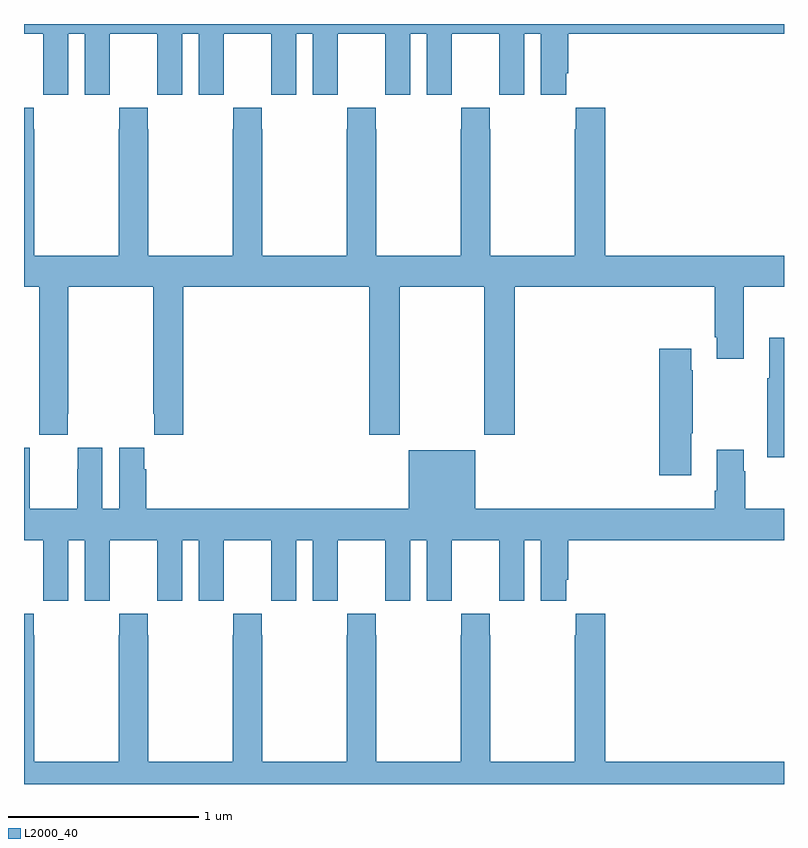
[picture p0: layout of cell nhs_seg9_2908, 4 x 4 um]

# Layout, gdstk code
import gdstk
lib = gdstk.Library(unit=1e-6, precision=1e-09)
def P(c, l, *ps):  # polygons
    for p in ps: c.add(gdstk.Polygon(p, *l))
L2000_40 = (2000, 40)

nhs_seg9_2908 = lib.new_cell('nhs_seg9_2908')
P(nhs_seg9_2908, L2000_40, [(279.232,1168.448),(279.32,1168.448),(279.32,1168.128),(279.45,1168.128),(279.45,1168.24),(279.451,1168.24),(279.451,1168.448),(279.701,1168.448),(279.701,1168.24),(279.702,1168.24),(279.702,1168.128),(279.832,1168.128),(279.832,1168.448),(279.92,1168.448),(279.92,1168.128),(280.05,1168.128),(280.05,1168.24),(280.051,1168.24),(280.051,1168.448),(280.301,1168.448),(280.301,1168.24),(280.302,1168.24),(280.302,1168.128),(280.432,1168.128),(280.432,1168.448),(280.52,1168.448),(280.52,1168.128),(280.65,1168.128),(280.65,1168.24),(280.651,1168.24),(280.651,1168.448),(280.901,1168.448),(280.901,1168.24),(280.902,1168.24),(280.902,1168.128),(281.032,1168.128),(281.032,1168.448),(281.12,1168.448),(281.12,1168.128),(281.25,1168.128),(281.25,1168.24),(281.251,1168.24),(281.251,1168.448),(281.501,1168.448),(281.501,1168.24),(281.502,1168.24),(281.502,1168.128),(281.632,1168.128),(281.632,1168.448),(281.72,1168.448),(281.72,1168.128),(281.854,1168.128),(281.854,1168.24),(281.864,1168.24),(281.864,1168.448),(283,1168.448),(283,1168.5),(279,1168.5),(279,1168.448),(279.101,1168.448),(279.101,1168.24),(279.102,1168.24),(279.102,1168.128),(279.232,1168.128)],
  [(280.817,1166.337),(280.977,1166.337),(280.977,1167.116),(281.422,1167.116),(281.422,1166.337),(281.582,1166.337),(281.582,1167.116),(282.635,1167.116),(282.635,1166.851),(282.647,1166.851),(282.647,1166.739),(282.787,1166.739),(282.787,1167.116),(283,1167.116),(283,1167.28),(282.059,1167.28),(282.059,1168.06),(281.905,1168.06),(281.905,1167.947),(281.899,1167.947),(281.899,1167.28),(281.454,1167.28),(281.454,1167.947),(281.451,1167.947),(281.451,1168.06),(281.301,1168.06),(281.301,1167.947),(281.299,1167.947),(281.299,1167.28),(280.854,1167.28),(280.854,1167.947),(280.851,1167.947),(280.851,1168.06),(280.701,1168.06),(280.701,1167.947),(280.699,1167.947),(280.699,1167.28),(280.254,1167.28),(280.254,1167.947),(280.251,1167.947),(280.251,1168.06),(280.101,1168.06),(280.101,1167.947),(280.099,1167.947),(280.099,1167.28),(279.654,1167.28),(279.654,1167.947),(279.651,1167.947),(279.651,1168.06),(279.501,1168.06),(279.501,1167.947),(279.499,1167.947),(279.499,1167.28),(279.054,1167.28),(279.054,1167.947),(279.051,1167.947),(279.051,1168.06),(279,1168.06),(279,1167.116),(279.079,1167.116),(279.079,1166.449),(279.081,1166.449),(279.081,1166.337),(279.231,1166.337),(279.231,1166.449),(279.234,1166.449),(279.234,1167.116),(279.679,1167.116),(279.679,1166.449),(279.685,1166.449),(279.685,1166.337),(279.839,1166.337),(279.839,1167.116),(280.817,1167.116)],
  [(283,1166.848),(282.923,1166.848),(282.923,1166.635),(282.912,1166.635),(282.912,1166.219),(283,1166.219)],
  [(282.511,1166.347),(282.519,1166.347),(282.519,1166.678),(282.511,1166.678),(282.511,1166.791),(282.344,1166.791),(282.344,1166.124),(282.511,1166.124)],
  [(279.232,1165.784),(279.32,1165.784),(279.32,1165.464),(279.45,1165.464),(279.45,1165.576),(279.451,1165.576),(279.451,1165.784),(279.701,1165.784),(279.701,1165.576),(279.702,1165.576),(279.702,1165.464),(279.832,1165.464),(279.832,1165.784),(279.92,1165.784),(279.92,1165.464),(280.05,1165.464),(280.05,1165.576),(280.051,1165.576),(280.051,1165.784),(280.301,1165.784),(280.301,1165.576),(280.302,1165.576),(280.302,1165.464),(280.432,1165.464),(280.432,1165.784),(280.52,1165.784),(280.52,1165.464),(280.65,1165.464),(280.65,1165.576),(280.651,1165.576),(280.651,1165.784),(280.901,1165.784),(280.901,1165.576),(280.902,1165.576),(280.902,1165.464),(281.032,1165.464),(281.032,1165.784),(281.12,1165.784),(281.12,1165.464),(281.25,1165.464),(281.25,1165.576),(281.251,1165.576),(281.251,1165.784),(281.501,1165.784),(281.501,1165.576),(281.502,1165.576),(281.502,1165.464),(281.632,1165.464),(281.632,1165.784),(281.72,1165.784),(281.72,1165.464),(281.854,1165.464),(281.854,1165.576),(281.864,1165.576),(281.864,1165.784),(283,1165.784),(283,1165.948),(282.795,1165.948),(282.795,1166.147),(282.787,1166.147),(282.787,1166.26),(282.647,1166.26),(282.647,1166.044),(282.635,1166.044),(282.635,1165.948),(281.374,1165.948),(281.374,1166.257),(281.024,1166.257),(281.024,1165.948),(279.644,1165.948),(279.644,1166.156),(279.634,1166.156),(279.634,1166.269),(279.5,1166.269),(279.5,1165.948),(279.412,1165.948),(279.412,1166.269),(279.282,1166.269),(279.282,1166.156),(279.281,1166.156),(279.281,1165.948),(279.031,1165.948),(279.031,1166.156),(279.03,1166.156),(279.03,1166.269),(279,1166.269),(279,1165.784),(279.101,1165.784),(279.101,1165.576),(279.102,1165.576),(279.102,1165.464),(279.232,1165.464)],
  [(283,1164.616),(282.059,1164.616),(282.059,1165.396),(281.905,1165.396),(281.905,1165.283),(281.899,1165.283),(281.899,1164.616),(281.454,1164.616),(281.454,1165.283),(281.451,1165.283),(281.451,1165.396),(281.301,1165.396),(281.301,1165.283),(281.299,1165.283),(281.299,1164.616),(280.854,1164.616),(280.854,1165.283),(280.851,1165.283),(280.851,1165.396),(280.701,1165.396),(280.701,1165.283),(280.699,1165.283),(280.699,1164.616),(280.254,1164.616),(280.254,1165.283),(280.251,1165.283),(280.251,1165.396),(280.101,1165.396),(280.101,1165.283),(280.099,1165.283),(280.099,1164.616),(279.654,1164.616),(279.654,1165.283),(279.651,1165.283),(279.651,1165.396),(279.501,1165.396),(279.501,1165.283),(279.499,1165.283),(279.499,1164.616),(279.054,1164.616),(279.054,1165.283),(279.051,1165.283),(279.051,1165.396),(279,1165.396),(279,1164.5),(283,1164.5)])

lib.write_gds('nhs_seg9_2908.gds')
